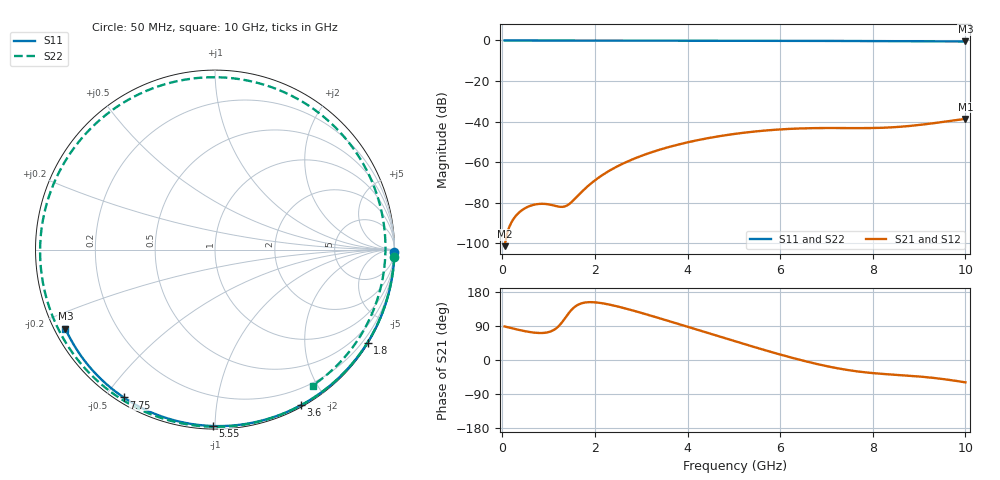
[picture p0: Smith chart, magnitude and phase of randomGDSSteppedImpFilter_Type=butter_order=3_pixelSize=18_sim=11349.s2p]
! freq	dB(S11)	phase(S11)	dB(S12)	phase(S12)
!  dB(S21)	phase(S21)	dB(S22)	phase(S22)
!S-par simulation data
#  GHz  S  DB  R 50
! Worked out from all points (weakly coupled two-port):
!   200 points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, 50 MHz to 10 GHz, reference 50 ohm
!   highest |S21| = -38.65 dB at 10 GHz (marker M1); lowest = -101.4 dB at 50 MHz (marker M2)
!   lowest |S11| = -0.5 dB at 10 GHz (marker M3), VSWR 34.01, Z = 1.56 - j12.4 ohm
!   |S11| at or under -10 dB: nowhere
!   |S22| runs from -0.6 to 0.0 dB; largest |S21 - S12| = 0
!   S11 on the Smith chart (normalised r, x): 50 MHz: open; 1.8 GHz: 0.03, -3.57; 3.6 GHz: 0.02, -1.70; 5.55 GHz: 0.02, -0.99; 7.75 GHz: 0.02, -0.56; 10 GHz: 0.03, -0.25
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0.05  -0.00 -0.9  -101.41 88.5  -101.41 88.5  -0.00 -2.3
0.7  -0.02 -12.3  -80.91 72.1  -80.91 72.1  -0.04 -31.2
1.1  -0.02 -19.3  -81.29 78.4  -81.29 78.4  -0.06 -48.6
1.45  -0.03 -25.3  -80.55 126.0  -80.55 126.0  -0.08 -63.6
1.75  -0.04 -30.5  -73.87 150.8  -73.87 150.8  -0.09 -76.2
1.8  -0.04 -31.3  -72.80 151.9  -72.80 151.9  -0.10 -78.3
2.15  -0.05 -37.3  -66.53 149.9  -66.53 149.9  -0.11 -92.6
2.55  -0.06 -43.9  -61.32 139.4  -61.32 139.4  -0.13 -108.7
2.95  -0.07 -50.5  -57.35 126.1  -57.35 126.1  -0.15 -124.5
3.4  -0.08 -57.8  -53.84 110.0  -53.84 110.0  -0.17 -142.1
3.6  -0.08 -61.0  -52.52 102.6  -52.52 102.6  -0.18 -149.9
4  -0.09 -67.3  -50.23 87.7  -50.23 87.7  -0.20 -165.5
4.35  -0.10 -72.8  -48.56 74.6  -48.56 74.6  -0.22 -179.4
5.05  -0.13 -83.4  -45.97 48.5  -45.97 48.5  -0.27 152.2
5.55  -0.15 -90.8  -44.67 30.3  -44.67 30.3  -0.30 131.0
6.15  -0.18 -99.4  -43.66 9.4  -43.66 9.4  -0.33 104.6
6.7  -0.21 -107.2  -43.23 -7.9  -43.23 -7.9  -0.36 79.7
7.2  -0.24 -114.1  -43.16 -21.0  -43.16 -21.0  -0.38 56.9
7.75  -0.28 -121.7  -43.22 -31.3  -43.22 -31.3  -0.41 32.2
8.35  -0.33 -129.8  -42.90 -37.9  -42.90 -37.9  -0.44 6.4
9.1  -0.41 -139.9  -41.39 -44.6  -41.39 -44.6  -0.50 -23.1
10  -0.51 -152.2  -38.65 -59.0  -38.65 -59.0  -0.61 -54.3
